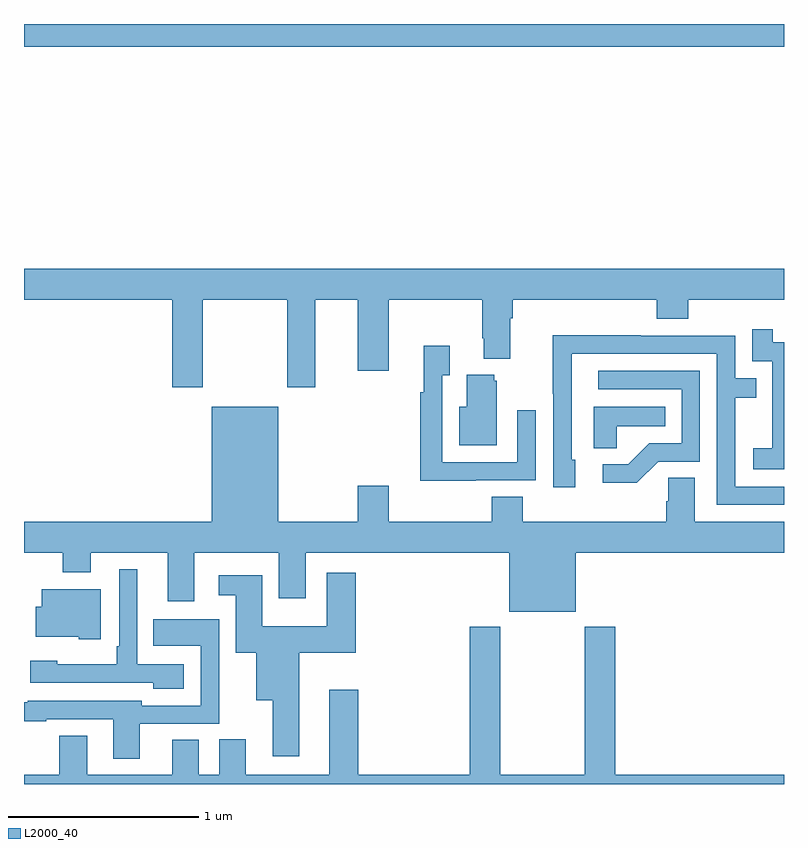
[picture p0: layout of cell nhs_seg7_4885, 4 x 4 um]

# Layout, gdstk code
import gdstk
lib = gdstk.Library(unit=1e-6, precision=1e-09)
def R(c, l, rs):  # rectangles x0, y0, x1, y1
    for r in rs: c.add(gdstk.rectangle(r[:2], r[2:], *l))
def P(c, l, *ps):  # polygons
    for p in ps: c.add(gdstk.Polygon(p, *l))
L2000_40 = (2000, 40)

nhs_seg7_4885 = lib.new_cell('nhs_seg7_4885')
R(nhs_seg7_4885, L2000_40, [(415,1069.88,419,1070)])
P(nhs_seg7_4885, L2000_40, [(415.941,1068.548),(416.386,1068.548),(416.386,1068.087),(416.533,1068.087),(416.533,1068.548),(416.756,1068.548),(416.756,1068.174),(416.92,1068.174),(416.92,1068.548),(417.412,1068.548),(417.412,1068.346),(417.419,1068.346),(417.419,1068.239),(417.559,1068.239),(417.559,1068.452),(417.572,1068.452),(417.572,1068.548),(418.331,1068.548),(418.331,1068.449),(418.496,1068.449),(418.496,1068.548),(419,1068.548),(419,1068.712),(415,1068.712),(415,1068.548),(415.781,1068.548),(415.781,1068.087),(415.941,1068.087)],
  [(419,1068.324),(418.942,1068.324),(418.942,1068.394),(418.833,1068.394),(418.833,1068.225),(418.938,1068.225),(418.938,1067.996),(418.937,1067.996),(418.937,1067.767),(418.839,1067.767),(418.839,1067.657),(419,1067.657)],
  [(419,1067.565),(418.743,1067.565),(418.743,1068.034),(418.853,1068.034),(418.853,1068.135),(418.743,1068.135),(418.743,1068.36),(418.247,1068.36),(418.247,1068.362),(417.784,1068.362),(417.784,1068.055),(417.786,1068.055),(417.786,1067.562),(417.901,1067.562),(417.901,1067.706),(417.882,1067.706),(417.882,1068.264),(418.647,1068.264),(418.647,1067.469),(419,1067.469)],
  [(417.377,1067.598),(417.693,1067.598),(417.693,1067.968),(417.597,1067.968),(417.597,1067.694),(417.201,1067.694),(417.201,1068.151),(417.241,1068.151),(417.241,1068.307),(417.104,1068.307),(417.104,1068.062),(417.085,1068.062),(417.085,1067.597),(417.377,1067.597)],
  [(418.338,1067.697),(418.557,1067.697),(418.557,1068.174),(418.023,1068.174),(418.023,1068.078),(418.461,1068.078),(418.461,1067.793),(418.292,1067.793),(418.181,1067.682),(418.047,1067.682),(418.047,1067.585),(418.225,1067.585)],
  [(417.487,1068.123),(417.476,1068.123),(417.476,1068.154),(417.329,1068.154),(417.329,1067.986),(417.29,1067.986),(417.29,1067.783),(417.487,1067.783)],
  [(417.904,1067.216),(419,1067.216),(419,1067.38),(418.531,1067.38),(418.531,1067.612),(418.392,1067.612),(418.392,1067.489),(418.379,1067.489),(418.379,1067.38),(417.626,1067.38),(417.626,1067.513),(417.461,1067.513),(417.461,1067.38),(416.92,1067.38),(416.92,1067.569),(416.756,1067.569),(416.756,1067.38),(416.338,1067.38),(416.338,1067.986),(415.988,1067.986),(415.988,1067.38),(415,1067.38),(415,1067.216),(415.204,1067.216),(415.204,1067.114),(415.351,1067.114),(415.351,1067.216),(415.757,1067.216),(415.757,1066.962),(415.897,1066.962),(415.897,1067.216),(416.342,1067.216),(416.342,1066.977),(416.482,1066.977),(416.482,1067.216),(417.554,1067.216),(417.554,1066.907),(417.904,1066.907)],
  [(418.119,1067.882),(418.376,1067.882),(418.376,1067.986),(417.998,1067.986),(417.998,1067.767),(418.119,1067.767)],
  [(415.84,1066.629),(415.596,1066.629),(415.596,1067.131),(415.5,1067.131),(415.5,1066.726),(415.488,1066.726),(415.488,1066.63),(415.176,1066.63),(415.176,1066.648),(415.032,1066.648),(415.032,1066.533),(415.679,1066.533),(415.679,1066.502),(415.84,1066.502)],
  [(416.449,1066.691),(416.747,1066.691),(416.747,1067.113),(416.594,1067.113),(416.594,1066.831),(416.254,1066.831),(416.254,1067.098),(416.025,1067.098),(416.025,1066.994),(416.114,1066.994),(416.114,1066.691),(416.222,1066.691),(416.222,1066.442),(416.309,1066.442),(416.309,1066.146),(416.449,1066.146)],
  [(415.405,1067.026),(415.094,1067.026),(415.094,1066.933),(415.061,1066.933),(415.061,1066.775),(415.287,1066.775),(415.287,1066.763),(415.405,1066.763)],
  [(415.609,1066.317),(416.027,1066.317),(416.027,1066.867),(415.681,1066.867),(415.681,1066.727),(415.929,1066.727),(415.929,1066.413),(415.62,1066.413),(415.62,1066.437),(415.02,1066.437),(415.02,1066.431),(415,1066.431),(415,1066.33),(415.116,1066.33),(415.116,1066.341),(415.469,1066.341),(415.469,1066.133),(415.609,1066.133)],
  [(419,1066.048),(418.112,1066.048),(418.112,1066.828),(417.952,1066.828),(417.952,1066.048),(417.507,1066.048),(417.507,1066.828),(417.347,1066.828),(417.347,1066.048),(416.759,1066.048),(416.759,1066.495),(416.606,1066.495),(416.606,1066.048),(416.167,1066.048),(416.167,1066.236),(416.028,1066.236),(416.028,1066.048),(415.921,1066.048),(415.921,1066.232),(415.781,1066.232),(415.781,1066.048),(415.333,1066.048),(415.333,1066.255),(415.186,1066.255),(415.186,1066.048),(415,1066.048),(415,1066),(419,1066)])

lib.write_gds('nhs_seg7_4885.gds')
